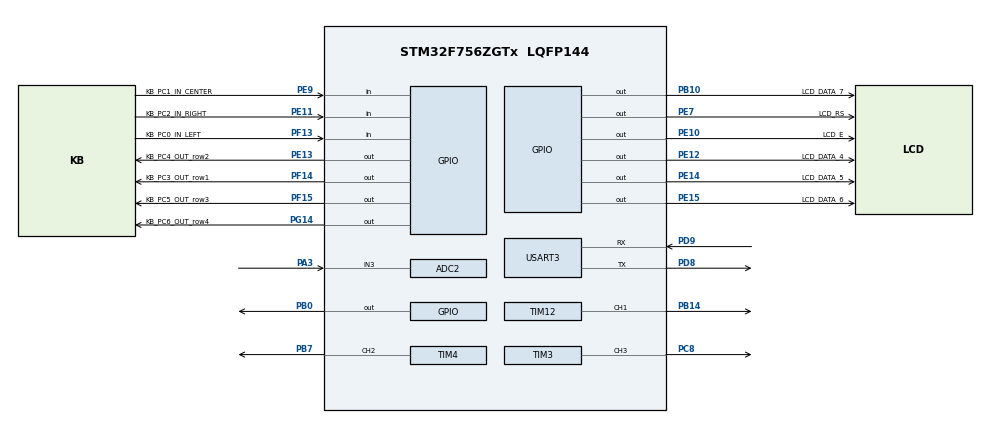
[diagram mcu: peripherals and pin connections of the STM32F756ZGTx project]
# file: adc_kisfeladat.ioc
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ADC1.Channel-0\#ChannelRegularConversion=ADC_CHANNEL_TEMPSENSOR
ADC1.NbrOfConversionFlag=1
ADC1.Rank-0\#ChannelRegularConversion=1
ADC1.SamplingTime-0\#ChannelRegularConversion=ADC_SAMPLETIME_3CYCLES
ADC1.master=1
ADC2.Channel-0\#ChannelRegularConversion=ADC_CHANNEL_3
ADC2.NbrOfConversionFlag=1
ADC2.Rank-0\#ChannelRegularConversion=1
ADC2.SamplingTime-0\#ChannelRegularConversion=ADC_SAMPLETIME_3CYCLES
Mcu.Family=STM32F7
Mcu.Name=STM32F756ZGTx
Mcu.Package=LQFP144
NVIC.PriorityGroup=NVIC_PRIORITYGROUP_4
NVIC.TIM4_IRQn=true\:0\:0\:false\:false\:true\:true\:true
NVIC.TIM8_BRK_TIM12_IRQn=true\:0\:0\:false\:false\:true\:true\:true
PA3.Signal=ADCx_IN3
PB0.Signal=GPIO_Output
PB10.GPIO_Label=LCD_DATA_7
PB10.Signal=GPIO_Output
PB14.Signal=S_TIM12_CH1
PB7.Signal=S_TIM4_CH2
PC8.Signal=S_TIM3_CH3
PD8.Mode=Asynchronous
PD8.Signal=USART3_TX
PD9.Mode=Asynchronous
PD9.Signal=USART3_RX
PE10.GPIO_Label=LCD_E
PE10.Signal=GPIO_Output
PE11.GPIO_Label=KB_PC2_IN_RIGHT
PE11.Signal=GPIO_Input
PE12.GPIO_Label=LCD_DATA_4
PE12.Signal=GPIO_Output
PE13.GPIO_Label=KB_PC4_OUT_row2
PE13.Signal=GPIO_Output
PE14.GPIO_Label=LCD_DATA_5
PE14.Signal=GPIO_Output
PE15.GPIO_Label=LCD_DATA_6
PE15.Signal=GPIO_Output
PE7.GPIO_Label=LCD_RS
PE7.Signal=GPIO_Output
PE9.GPIO_Label=KB_PC1_IN_CENTER
PE9.Signal=GPIO_Input
PF13.GPIO_Label=KB_PC0_IN_LEFT
PF13.Signal=GPIO_Input
PF14.GPIO_Label=KB_PC3_OUT_row1
PF14.Signal=GPIO_Output
PF15.GPIO_Label=KB_PC5_OUT_row3
PF15.Signal=GPIO_Output
PG14.GPIO_Label=KB_PC6_OUT_row4
PG14.Signal=GPIO_Output
ProjectManager.HeapSize=0x200
ProjectManager.StackSize=0x400
ProjectManager.TargetToolchain=TrueSTUDIO
RCC.HSE_VALUE=25000000
RCC.HSI_VALUE=16000000
RCC.LSE_VALUE=32768
RCC.USBFreq_Value=96000000
RCC.VCOOutputFreq_Value=192000000
SH.ADCx_IN3.0=ADC2_IN3,IN3
SH.S_TIM12_CH1.0=TIM12_CH1,PWM Generation1 CH1
SH.S_TIM3_CH3.0=TIM3_CH3,PWM Generation3 CH3
SH.S_TIM4_CH2.0=TIM4_CH2,PWM Generation2 CH2
TIM12.Channel-PWM\ Generation1\ CH1=TIM_CHANNEL_1
TIM12.Period=100
TIM12.Prescaler=15
TIM12.Pulse-PWM\ Generation1\ CH1=5
TIM3.Channel-PWM\ Generation3\ CH3=TIM_CHANNEL_3
TIM4.Channel-PWM\ Generation2\ CH2=TIM_CHANNEL_2
TIM4.Period=100
TIM4.Prescaler=15
TIM4.Pulse-PWM\ Generation2\ CH2=5
USART3.VirtualMode-Asynchronous=VM_ASYNC
VP_ADC1_TempSens_Input.Mode=IN-TempSens
board=custom

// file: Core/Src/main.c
/* USER CODE BEGIN Header */
/**
  ******************************************************************************
  * @file           : main.c
  * @brief          : Main program body
  ******************************************************************************
  * @attention
  *
  * <h2><center>&copy; Copyright (c) 2021 STMicroelectronics.
  * All rights reserved.</center></h2>
  *
  * This software component is licensed by ST under BSD 3-Clause license,
  * the "License"; You may not use this file except in compliance with the
  * License. You may obtain a copy of the License at:
  *                        opensource.org/licenses/BSD-3-Clause
  *
  ******************************************************************************
  */
/* USER CODE END Header */
#include "main.h"

/* USER CODE BEGIN Includes */
#include "lcd.h"
#include "matrix.h"
/* USER CODE END Includes */

ADC_HandleTypeDef hadc1;
ADC_HandleTypeDef hadc2;

TIM_HandleTypeDef htim3;
TIM_HandleTypeDef htim4;
TIM_HandleTypeDef htim12;

UART_HandleTypeDef huart3;
char num[6];
uint32_t adc_data_reg;
uint32_t v_adc_ch3 = 0;
uint16_t cnt=0;

void SystemClock_Config(void);
static void MX_GPIO_Init(void);
static void MX_TIM4_Init(void);
static void MX_TIM12_Init(void);
static void MX_ADC1_Init(void);
static void MX_ADC2_Init(void);
static void MX_TIM3_Init(void);
static void MX_USART3_UART_Init(void);
/* USER CODE BEGIN PFP */
void HAL_TIM_PeriodElapsedCallback (TIM_HandleTypeDef * htim){
	if(cnt==2000){
		HAL_ADC_Start(&hadc2); //adc conv start
		//HAL_Delay(50);
		adc_data_reg = HAL_ADC_GetValue(&hadc2);
		v_adc_ch3 = (3300*adc_data_reg)/4096;
		sprintf(num, "%d", v_adc_ch3);
		HAL_UART_Transmit(&huart3, num, sizeof(num), 10);
		HAL_UART_Transmit(&huart3, "\n\r", sizeof("\n\r"), 10);

		cnt=0;
	}
	cnt++;

}
/* USER CODE END PFP */

int main(void)
{

  /* MCU Configuration--------------------------------------------------------*/

  /* Reset of all peripherals, Initializes the Flash interface and the Systick. */
  HAL_Init();

  /* Configure the system clock */
  SystemClock_Config();

  /* Initialize all configured peripherals */
  MX_GPIO_Init();
  MX_TIM4_Init();
  MX_TIM12_Init();
  MX_ADC1_Init();
  MX_ADC2_Init();
  MX_TIM3_Init();
  MX_USART3_UART_Init();
  /* USER CODE BEGIN 2 */
  HAL_TIM_Base_Start_IT(&htim4);
  LCD_init();
  LCD_cmd(0x80);

  /* USER CODE END 2 */

  /* Infinite loop */
  /* USER CODE BEGIN WHILE */
  while (1)
  {
	  LCD_xy(0,1);

	  	  if((v_adc_ch3>=2476) && (v_adc_ch3<=3300))
	  	  	  {
	  		  LCD_xy(15,1); LCD_string("*");
	  		  LCD_xy(15,2); LCD_string("*");
	  		  LCD_xy(15,3); LCD_string("*");
	  		  LCD_xy(15,4); LCD_string("*");

	  	  	  }

	  	  	  if((v_adc_ch3>=1651) && (v_adc_ch3<=2475))
	  	  	  {
	  	  		LCD_xy(15,1); LCD_string(" ");
	  	  		LCD_xy(15,2); LCD_string("*");
	  	  		LCD_xy(15,3); LCD_string("*");
	  	  		LCD_xy(15,4); LCD_string("*");
	  	  	  	}

	  	  	  	if((v_adc_ch3<=1650) && (v_adc_ch3>=826))
	  	  	  	 {
	  	  	  	LCD_xy(15,1); LCD_string(" ");
	  	  	  	LCD_xy(15,2); LCD_string(" ");
	  	  	  	LCD_xy(15,3); LCD_string("*");
	  	  	  	LCD_xy(15,4); LCD_string("*");
	  	  	 }

	  	  	  if(v_adc_ch3<825)
	  	  	  {

	  	  		LCD_xy(15,1); LCD_string(" ");
	  	  		LCD_xy(15,2); LCD_string(" ");
	  	  		LCD_xy(15,3); LCD_string(" ");
	  	  		LCD_xy(15,4); LCD_string("*");
	  	  	  }
    /* USER CODE END WHILE */

  }
}

void SystemClock_Config(void)
{
  RCC_OscInitTypeDef RCC_OscInitStruct = {0};
  RCC_ClkInitTypeDef RCC_ClkInitStruct = {0};
  RCC_PeriphCLKInitTypeDef PeriphClkInitStruct = {0};

  /** Configure the main internal regulator output voltage
  */
  __HAL_RCC_PWR_CLK_ENABLE();
  __HAL_PWR_VOLTAGESCALING_CONFIG(PWR_REGULATOR_VOLTAGE_SCALE3);
  /** Initializes the RCC Oscillators according to the specified parameters
  * in the RCC_OscInitTypeDef structure.
  */
  RCC_OscInitStruct.OscillatorType = RCC_OSCILLATORTYPE_HSI;
  RCC_OscInitStruct.HSIState = RCC_HSI_ON;
  RCC_OscInitStruct.HSICalibrationValue = RCC_HSICALIBRATION_DEFAULT;
  RCC_OscInitStruct.PLL.PLLState = RCC_PLL_NONE;
  if (HAL_RCC_OscConfig(&RCC_OscInitStruct) != HAL_OK)
  {
    Error_Handler();
  }
  /** Initializes the CPU, AHB and APB buses clocks
  */
  RCC_ClkInitStruct.ClockType = RCC_CLOCKTYPE_HCLK|RCC_CLOCKTYPE_SYSCLK
                              |RCC_CLOCKTYPE_PCLK1|RCC_CLOCKTYPE_PCLK2;
  RCC_ClkInitStruct.SYSCLKSource = RCC_SYSCLKSOURCE_HSI;
  RCC_ClkInitStruct.AHBCLKDivider = RCC_SYSCLK_DIV1;
  RCC_ClkInitStruct.APB1CLKDivider = RCC_HCLK_DIV1;
  RCC_ClkInitStruct.APB2CLKDivider = RCC_HCLK_DIV1;

  if (HAL_RCC_ClockConfig(&RCC_ClkInitStruct, FLASH_LATENCY_0) != HAL_OK)
  {
    Error_Handler();
  }
  PeriphClkInitStruct.PeriphClockSelection = RCC_PERIPHCLK_USART3;
  PeriphClkInitStruct.Usart3ClockSelection = RCC_USART3CLKSOURCE_PCLK1;
  if (HAL_RCCEx_PeriphCLKConfig(&PeriphClkInitStruct) != HAL_OK)
  {
    Error_Handler();
  }
}

static void MX_ADC1_Init(void)
{

  ADC_ChannelConfTypeDef sConfig = {0};

  /** Configure the global features of the ADC (Clock, Resolution, Data Alignment and number of conversion)
  */
  hadc1.Instance = ADC1;
  hadc1.Init.ClockPrescaler = ADC_CLOCK_SYNC_PCLK_DIV2;
  hadc1.Init.Resolution = ADC_RESOLUTION_12B;
  hadc1.Init.ScanConvMode = ADC_SCAN_DISABLE;
  hadc1.Init.ContinuousConvMode = DISABLE;
  hadc1.Init.DiscontinuousConvMode = DISABLE;
  hadc1.Init.ExternalTrigConvEdge = ADC_EXTERNALTRIGCONVEDGE_NONE;
  hadc1.Init.ExternalTrigConv = ADC_SOFTWARE_START;
  hadc1.Init.DataAlign = ADC_DATAALIGN_RIGHT;
  hadc1.Init.NbrOfConversion = 1;
  hadc1.Init.DMAContinuousRequests = DISABLE;
  hadc1.Init.EOCSelection = ADC_EOC_SINGLE_CONV;
  if (HAL_ADC_Init(&hadc1) != HAL_OK)
  {
    Error_Handler();
  }
  /** Configure for the selected ADC regular channel its corresponding rank in the sequencer and its sample time.
  */
  sConfig.Channel = ADC_CHANNEL_TEMPSENSOR;
  sConfig.Rank = ADC_REGULAR_RANK_1;
  sConfig.SamplingTime = ADC_SAMPLETIME_3CYCLES;
  if (HAL_ADC_ConfigChannel(&hadc1, &sConfig) != HAL_OK)
  {
    Error_Handler();
  }

}

static void MX_ADC2_Init(void)
{

  ADC_ChannelConfTypeDef sConfig = {0};

  /** Configure the global features of the ADC (Clock, Resolution, Data Alignment and number of conversion)
  */
  hadc2.Instance = ADC2;
  hadc2.Init.ClockPrescaler = ADC_CLOCK_SYNC_PCLK_DIV2;
  hadc2.Init.Resolution = ADC_RESOLUTION_12B;
  hadc2.Init.ScanConvMode = ADC_SCAN_DISABLE;
  hadc2.Init.ContinuousConvMode = DISABLE;
  hadc2.Init.DiscontinuousConvMode = DISABLE;
  hadc2.Init.ExternalTrigConvEdge = ADC_EXTERNALTRIGCONVEDGE_NONE;
  hadc2.Init.ExternalTrigConv = ADC_SOFTWARE_START;
  hadc2.Init.DataAlign = ADC_DATAALIGN_RIGHT;
  hadc2.Init.NbrOfConversion = 1;
  hadc2.Init.DMAContinuousRequests = DISABLE;
  hadc2.Init.EOCSelection = ADC_EOC_SINGLE_CONV;
  if (HAL_ADC_Init(&hadc2) != HAL_OK)
  {
    Error_Handler();
  }
  /** Configure for the selected ADC regular channel its corresponding rank in the sequencer and its sample time.
  */
  sConfig.Channel = ADC_CHANNEL_3;
  sConfig.Rank = ADC_REGULAR_RANK_1;
  sConfig.SamplingTime = ADC_SAMPLETIME_3CYCLES;
  if (HAL_ADC_ConfigChannel(&hadc2, &sConfig) != HAL_OK)
  {
    Error_Handler();
  }

}

static void MX_TIM3_Init(void)
{

  TIM_MasterConfigTypeDef sMasterConfig = {0};
  TIM_OC_InitTypeDef sConfigOC = {0};

  htim3.Instance = TIM3;
  htim3.Init.Prescaler = 0;
  htim3.Init.CounterMode = TIM_COUNTERMODE_UP;
  htim3.Init.Period = 65535;
  htim3.Init.ClockDivision = TIM_CLOCKDIVISION_DIV1;
  htim3.Init.AutoReloadPreload = TIM_AUTORELOAD_PRELOAD_DISABLE;
  if (HAL_TIM_PWM_Init(&htim3) != HAL_OK)
  {
    Error_Handler();
  }
  sMasterConfig.MasterOutputTrigger = TIM_TRGO_RESET;
  sMasterConfig.MasterSlaveMode = TIM_MASTERSLAVEMODE_DISABLE;
  if (HAL_TIMEx_MasterConfigSynchronization(&htim3, &sMasterConfig) != HAL_OK)
  {
    Error_Handler();
  }
  sConfigOC.OCMode = TIM_OCMODE_PWM1;
  sConfigOC.Pulse = 0;
  sConfigOC.OCPolarity = TIM_OCPOLARITY_HIGH;
  sConfigOC.OCFastMode = TIM_OCFAST_DISABLE;
  if (HAL_TIM_PWM_ConfigChannel(&htim3, &sConfigOC, TIM_CHANNEL_3) != HAL_OK)
  {
    Error_Handler();
  }
  HAL_TIM_MspPostInit(&htim3);

}

static void MX_TIM4_Init(void)
{

  TIM_MasterConfigTypeDef sMasterConfig = {0};
  TIM_OC_InitTypeDef sConfigOC = {0};

  htim4.Instance = TIM4;
  htim4.Init.Prescaler = 15;
  htim4.Init.CounterMode = TIM_COUNTERMODE_UP;
  htim4.Init.Period = 100;
  htim4.Init.ClockDivision = TIM_CLOCKDIVISION_DIV1;
  htim4.Init.AutoReloadPreload = TIM_AUTORELOAD_PRELOAD_DISABLE;
  if (HAL_TIM_PWM_Init(&htim4) != HAL_OK)
  {
    Error_Handler();
  }
  sMasterConfig.MasterOutputTrigger = TIM_TRGO_RESET;
  sMasterConfig.MasterSlaveMode = TIM_MASTERSLAVEMODE_DISABLE;
  if (HAL_TIMEx_MasterConfigSynchronization(&htim4, &sMasterConfig) != HAL_OK)
  {
    Error_Handler();
  }
  sConfigOC.OCMode = TIM_OCMODE_PWM1;
  sConfigOC.Pulse = 5;
  sConfigOC.OCPolarity = TIM_OCPOLARITY_HIGH;
  sConfigOC.OCFastMode = TIM_OCFAST_DISABLE;
  if (HAL_TIM_PWM_ConfigChannel(&htim4, &sConfigOC, TIM_CHANNEL_2) != HAL_OK)
  {
    Error_Handler();
  }
  HAL_TIM_MspPostInit(&htim4);

}

static void MX_TIM12_Init(void)
{

  TIM_OC_InitTypeDef sConfigOC = {0};

  htim12.Instance = TIM12;
  htim12.Init.Prescaler = 15;
  htim12.Init.CounterMode = TIM_COUNTERMODE_UP;
  htim12.Init.Period = 100;
  htim12.Init.ClockDivision = TIM_CLOCKDIVISION_DIV1;
  htim12.Init.AutoReloadPreload = TIM_AUTORELOAD_PRELOAD_DISABLE;
  if (HAL_TIM_PWM_Init(&htim12) != HAL_OK)
  {
    Error_Handler();
  }
  sConfigOC.OCMode = TIM_OCMODE_PWM1;
  sConfigOC.Pulse = 5;
  sConfigOC.OCPolarity = TIM_OCPOLARITY_HIGH;
  sConfigOC.OCFastMode = TIM_OCFAST_DISABLE;
  if (HAL_TIM_PWM_ConfigChannel(&htim12, &sConfigOC, TIM_CHANNEL_1) != HAL_OK)
  {
    Error_Handler();
  }
  HAL_TIM_MspPostInit(&htim12);

}

static void MX_USART3_UART_Init(void)
{

  huart3.Instance = USART3;
  huart3.Init.BaudRate = 115200;
  huart3.Init.WordLength = UART_WORDLENGTH_8B;
  huart3.Init.StopBits = UART_STOPBITS_1;
  huart3.Init.Parity = UART_PARITY_NONE;
  huart3.Init.Mode = UART_MODE_TX_RX;
  huart3.Init.HwFlowCtl = UART_HWCONTROL_NONE;
  huart3.Init.OverSampling = UART_OVERSAMPLING_16;
  huart3.Init.OneBitSampling = UART_ONE_BIT_SAMPLE_DISABLE;
  huart3.AdvancedInit.AdvFeatureInit = UART_ADVFEATURE_NO_INIT;
  if (HAL_UART_Init(&huart3) != HAL_OK)
  {
    Error_Handler();
  }

}

static void MX_GPIO_Init(void)
{
  GPIO_InitTypeDef GPIO_InitStruct = {0};

  /* GPIO Ports Clock Enable */
  __HAL_RCC_GPIOA_CLK_ENABLE();
  __HAL_RCC_GPIOB_CLK_ENABLE();
  __HAL_RCC_GPIOF_CLK_ENABLE();
  __HAL_RCC_GPIOE_CLK_ENABLE();
  __HAL_RCC_GPIOD_CLK_ENABLE();
  __HAL_RCC_GPIOC_CLK_ENABLE();
  __HAL_RCC_GPIOG_CLK_ENABLE();

  /*Configure GPIO pin Output Level */
  HAL_GPIO_WritePin(GPIOB, GPIO_PIN_0|LCD_DATA_7_Pin, GPIO_PIN_RESET);

  /*Configure GPIO pin Output Level */
  HAL_GPIO_WritePin(GPIOF, KB_PC3_OUT_row1_Pin|KB_PC5_OUT_row3_Pin, GPIO_PIN_RESET);

  /*Configure GPIO pin Output Level */
  HAL_GPIO_WritePin(GPIOE, LCD_RS_Pin|LCD_E_Pin|LCD_DATA_4_Pin|KB_PC4_OUT_row2_Pin
                          |LCD_DATA_5_Pin|LCD_DATA_6_Pin, GPIO_PIN_RESET);

  /*Configure GPIO pin Output Level */
  HAL_GPIO_WritePin(KB_PC6_OUT_row4_GPIO_Port, KB_PC6_OUT_row4_Pin, GPIO_PIN_RESET);

  /*Configure GPIO pins : PB0 LCD_DATA_7_Pin */
  GPIO_InitStruct.Pin = GPIO_PIN_0|LCD_DATA_7_Pin;
  GPIO_InitStruct.Mode = GPIO_MODE_OUTPUT_PP;
  GPIO_InitStruct.Pull = GPIO_NOPULL;
  GPIO_InitStruct.Speed = GPIO_SPEED_FREQ_LOW;
  HAL_GPIO_Init(GPIOB, &GPIO_InitStruct);

  /*Configure GPIO pin : KB_PC0_IN_LEFT_Pin */
  GPIO_InitStruct.Pin = KB_PC0_IN_LEFT_Pin;
  GPIO_InitStruct.Mode = GPIO_MODE_INPUT;
  GPIO_InitStruct.Pull = GPIO_NOPULL;
  HAL_GPIO_Init(KB_PC0_IN_LEFT_GPIO_Port, &GPIO_InitStruct);

  /*Configure GPIO pins : KB_PC3_OUT_row1_Pin KB_PC5_OUT_row3_Pin */
  GPIO_InitStruct.Pin = KB_PC3_OUT_row1_Pin|KB_PC5_OUT_row3_Pin;
  GPIO_InitStruct.Mode = GPIO_MODE_OUTPUT_PP;
  GPIO_InitStruct.Pull = GPIO_NOPULL;
  GPIO_InitStruct.Speed = GPIO_SPEED_FREQ_LOW;
  HAL_GPIO_Init(GPIOF, &GPIO_InitStruct);

  /*Configure GPIO pins : LCD_RS_Pin LCD_E_Pin LCD_DATA_4_Pin KB_PC4_OUT_row2_Pin
                           LCD_DATA_5_Pin LCD_DATA_6_Pin */
  GPIO_InitStruct.Pin = LCD_RS_Pin|LCD_E_Pin|LCD_DATA_4_Pin|KB_PC4_OUT_row2_Pin
                          |LCD_DATA_5_Pin|LCD_DATA_6_Pin;
  GPIO_InitStruct.Mode = GPIO_MODE_OUTPUT_PP;
  GPIO_InitStruct.Pull = GPIO_NOPULL;
  GPIO_InitStruct.Speed = GPIO_SPEED_FREQ_LOW;
  HAL_GPIO_Init(GPIOE, &GPIO_InitStruct);

  /*Configure GPIO pins : KB_PC1_IN_CENTER_Pin KB_PC2_IN_RIGHT_Pin */
  GPIO_InitStruct.Pin = KB_PC1_IN_CENTER_Pin|KB_PC2_IN_RIGHT_Pin;
  GPIO_InitStruct.Mode = GPIO_MODE_INPUT;
  GPIO_InitStruct.Pull = GPIO_NOPULL;
  HAL_GPIO_Init(GPIOE, &GPIO_InitStruct);

  /*Configure GPIO pin : KB_PC6_OUT_row4_Pin */
  GPIO_InitStruct.Pin = KB_PC6_OUT_row4_Pin;
  GPIO_InitStruct.Mode = GPIO_MODE_OUTPUT_PP;
  GPIO_InitStruct.Pull = GPIO_NOPULL;
  GPIO_InitStruct.Speed = GPIO_SPEED_FREQ_LOW;
  HAL_GPIO_Init(KB_PC6_OUT_row4_GPIO_Port, &GPIO_InitStruct);

}

void Error_Handler(void)
{
  __disable_irq();
  while (1)
  {
  }
}

/************************ (C) COPYRIGHT STMicroelectronics *****END OF FILE****/
